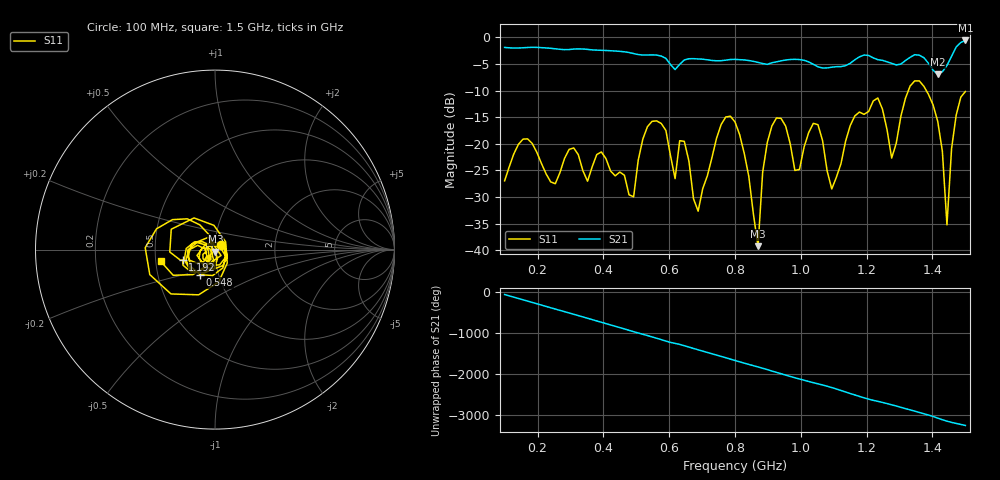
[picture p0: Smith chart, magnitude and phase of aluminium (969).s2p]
! NanoVNA-App
! Date: 2025-09-25 15:02:49
! Start: 100MHz Stop: 1,5GHz Points: 101
! S-Parameter data: F S11 S21 S12 S22
# Hz S RI R 50
!  Frequency  S11_Real  S11_Imag  S21_Real  S21_Imag  S12_Real  S12_Imag  S22_Real  S22_Imag
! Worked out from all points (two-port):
!   101 points, 100 MHz to 1.5 GHz, reference 50 ohm
!   highest |S21| = -0.61 dB at 1.5 GHz (marker M1); lowest = -7.0 dB at 1.416 GHz (marker M2)
!   |S21| within 3 dB of the highest: start of sweep to 578.3 MHz; 1.458 GHz to end of sweep (the widest 2 of 4)
!   lowest |S11| = -39.2 dB at 870 MHz (marker M3), VSWR 1.02, Z = 50.3 - j1.07 ohm
!   |S11| at or under -10 dB: start of sweep to 1.327 GHz; 1.381 GHz to end of sweep
!   S12 and S22 are empty: the file has one direction only
!   S11 on the Smith chart (normalised r, x): 100 MHz: 1.07, +0.06; 548 MHz: 0.82, -0.24; 1.192 GHz: 0.69, -0.08; 1.5 GHz: 0.53, -0.08
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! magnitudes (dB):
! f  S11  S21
! 100 MHz  -27.0  -1.9
! 156 MHz  -19.1  -2.0
! 338 MHz  -25.1  -2.2
! 492 MHz  -29.9  -3.1
! 548 MHz  -15.8  -3.3
! 576 MHz  -16.2  -3.5
! 646 MHz  -19.5  -4.3
! 688 MHz  -32.6  -4.1
! 800 MHz  -15.9  -4.2
! 870 MHz  -39.2  -4.7
! 912 MHz  -16.7  -4.8
! 982 MHz  -25.0  -4.1
! 1.038 GHz  -16.2  -5.1
! 1.094 GHz  -28.5  -5.6
! 1.192 GHz  -14.5  -3.3
! 1.234 GHz  -11.4  -4.2
! 1.276 GHz  -22.7  -4.9
! 1.346 GHz  -8.2  -3.3
! 1.416 GHz  -15.8  -7.0
! 1.444 GHz  -35.2  -5.3
! 1.472 GHz  -14.6  -1.8
! 1.5 GHz  -10.2  -0.6
